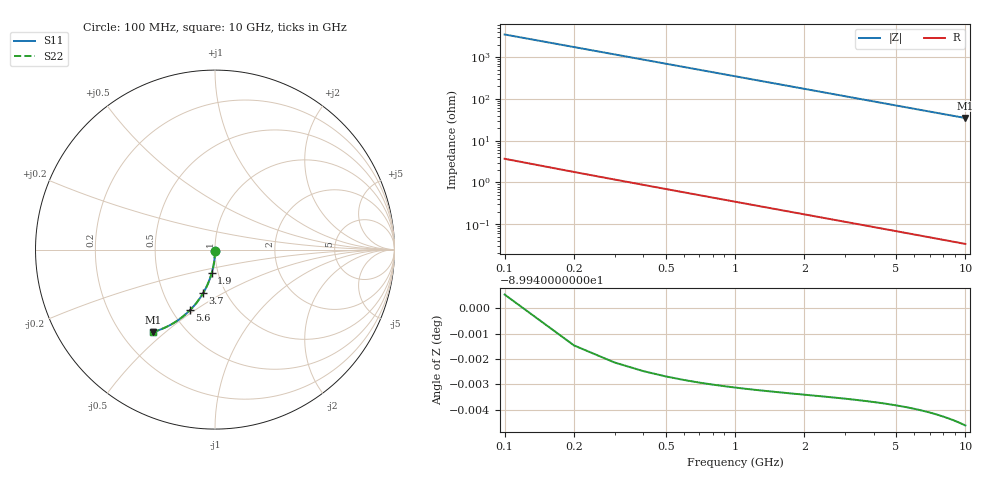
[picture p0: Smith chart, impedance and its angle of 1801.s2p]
# Hz S RI R 50.00
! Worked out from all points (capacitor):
!   100 points, 100 MHz to 10 GHz, reference 50 ohm
!   read as one part in shunt: C = 456 fF near 100 MHz
!   lowest |Z| = 34.9 ohm at 10 GHz (marker M1)
!   S11 on the Smith chart (normalised r, x): 100 MHz: 1.00, -0.01; 1.9 GHz: 0.93, -0.25; 3.7 GHz: 0.78, -0.41; 5.6 GHz: 0.61, -0.48; 10 GHz: 0.33, -0.46
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1e8  -2.78e-05 -0.00701  0.9999 -0.00731  0.9999 -0.00731  -2.78e-05 -0.00701
2e8  -0.000188 -0.014  0.9997 -0.0146  0.9997 -0.0146  -0.000188 -0.014
3e8  -0.000451 -0.021  0.9995 -0.0219  0.9995 -0.0219  -0.000451 -0.021
4e8  -0.000817 -0.028  0.9991 -0.0292  0.9991 -0.0292  -0.000817 -0.028
5e8  -0.00128 -0.035  0.9987 -0.0365  0.9987 -0.0365  -0.00128 -0.035
6e8  -0.00185 -0.042  0.9981 -0.0438  0.9981 -0.0438  -0.00185 -0.042
8e8  -0.0033 -0.0559  0.9966 -0.0583  0.9966 -0.0583  -0.0033 -0.0559
9e8  -0.00417 -0.0628  0.9958 -0.0656  0.9958 -0.0656  -0.00417 -0.0628
1.1e9  -0.00622 -0.0767  0.9937 -0.08  0.9937 -0.08  -0.00622 -0.0767
1.4e9  -0.01 -0.0972  0.9899 -0.1014  0.9899 -0.1014  -0.01 -0.0972
1.8e9  -0.0165 -0.1242  0.9835 -0.1297  0.9835 -0.1297  -0.0165 -0.1242
1.9e9  -0.0183 -0.1308  0.9816 -0.1366  0.9816 -0.1366  -0.0183 -0.1308
2.2e9  -0.0244 -0.1506  0.9755 -0.1573  0.9755 -0.1573  -0.0244 -0.1506
2.6e9  -0.0338 -0.1763  0.9661 -0.1842  0.9661 -0.1842  -0.0338 -0.1763
3.4e9  -0.0564 -0.2252  0.9434 -0.2356  0.9434 -0.2356  -0.0564 -0.2252
3.7e9  -0.0662 -0.2426  0.9337 -0.2539  0.9337 -0.2539  -0.0662 -0.2426
4.4e9  -0.0912 -0.2808  0.9086 -0.2943  0.9086 -0.2943  -0.0912 -0.2808
5.1e9  -0.119 -0.3155  0.8808 -0.3312  0.8808 -0.3312  -0.119 -0.3155
5.6e9  -0.1401 -0.3381  0.8597 -0.3554  0.8597 -0.3554  -0.1401 -0.3381
6.7e9  -0.1895 -0.3811  0.8102 -0.4019  0.8102 -0.4019  -0.1895 -0.3811
8.4e9  -0.2694 -0.4301  0.7302 -0.4564  0.7302 -0.4564  -0.2694 -0.4301
1e10  -0.3439 -0.4589  0.6556 -0.4903  0.6556 -0.4903  -0.3439 -0.4589
